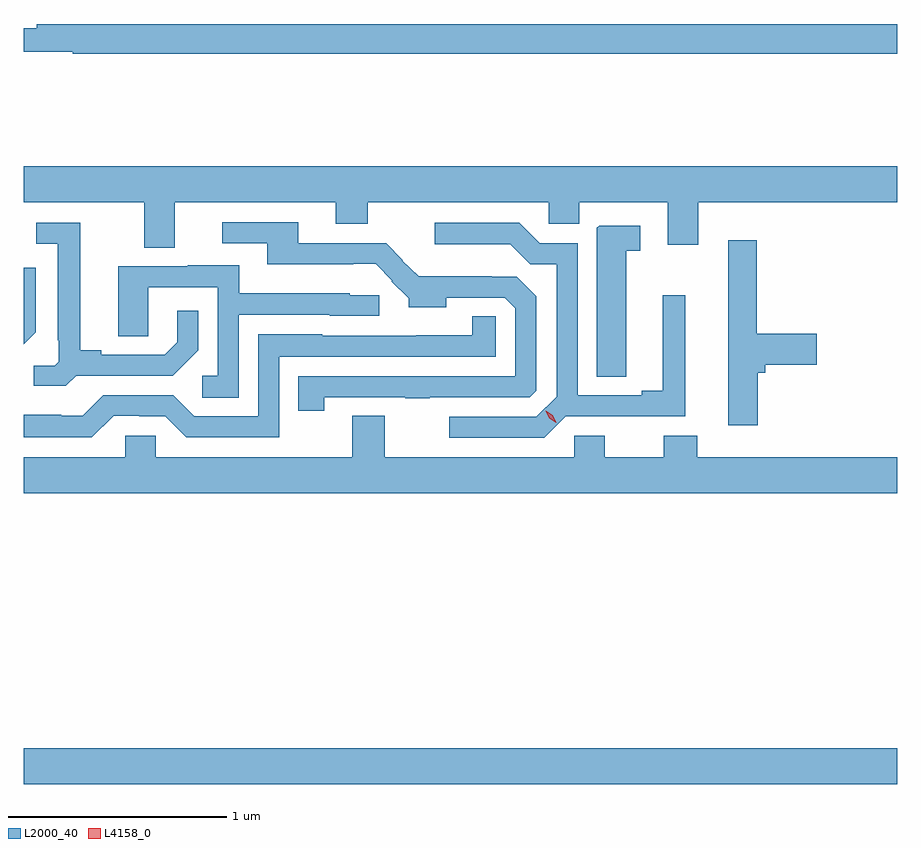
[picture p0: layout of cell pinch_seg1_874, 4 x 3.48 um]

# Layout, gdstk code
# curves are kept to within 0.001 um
import gdstk
lib = gdstk.Library(unit=1e-6, precision=1e-09)
def R(c, l, rs):  # rectangles x0, y0, x1, y1
    for r in rs: c.add(gdstk.rectangle(r[:2], r[2:], *l))
def P(c, l, *ps):  # polygons
    for p in ps: c.add(gdstk.Polygon(p, *l))
L2000_40 = (2000, 40)
L4158_0 = (4158, 0)

pinch_seg1_874 = lib.new_cell('pinch_seg1_874')
R(pinch_seg1_874, L2000_40, [(512.861,505.112,516.861,505.276)])
P(pinch_seg1_874, L2000_40, [(516.861,508.592),(512.92,508.592),(512.92,508.573),(512.861,508.573),(512.861,508.464),(513.086,508.464),(513.086,508.456),(516.861,508.456)],
  [(513.553,507.776),(514.289,507.776),(514.289,507.677),(514.437,507.677),(514.437,507.776),(515.265,507.776),(515.265,507.678),(515.404,507.678),(515.404,507.776),(515.81,507.776),(515.81,507.582),(515.95,507.582),(515.95,507.776),(516.861,507.776),(516.861,507.94),(512.861,507.94),(512.861,507.776),(513.413,507.776),(513.413,507.568),(513.553,507.568)],
  [(514.236,506.883),(514.609,506.883),(514.609,506.878),(514.721,506.878),(514.721,506.883),(515.178,506.883),(515.208,506.913),(515.208,507.345),(515.119,507.434),(515.003,507.434),(515.003,507.436),(514.669,507.436),(514.595,507.509),(514.597,507.511),(514.521,507.588),(514.117,507.588),(514.117,507.684),(513.77,507.684),(513.77,507.588),(513.977,507.588),(513.977,507.491),(514.37,507.491),(514.37,507.494),(514.472,507.494),(514.548,507.417),(514.545,507.414),(514.624,507.336),(514.624,507.296),(514.795,507.296),(514.795,507.339),(515.064,507.339),(515.112,507.291),(515.112,506.979),(514.117,506.979),(514.117,506.82),(514.236,506.82)],
  [(515.344,506.796),(515.89,506.796),(515.89,507.349),(515.786,507.349),(515.786,506.912),(515.69,506.912),(515.69,506.892),(515.397,506.892),(515.397,507.588),(515.223,507.588),(515.13,507.681),(514.743,507.681),(514.743,507.584),(515.089,507.584),(515.18,507.493),(515.301,507.493),(515.301,506.886),(515.208,506.793),(514.809,506.793),(514.809,506.697),(515.245,506.697)],
  [(513.102,506.982),(513.544,506.982),(513.66,507.098),(513.66,507.28),(513.563,507.28),(513.563,507.135),(513.506,507.078),(513.217,507.078),(513.217,507.098),(513.121,507.098),(513.121,507.681),(512.919,507.681),(512.919,507.585),(513.017,507.585),(513.017,507.145),(513.021,507.145),(513.021,507.045),(513.003,507.027),(512.908,507.027),(512.908,506.935),(513.054,506.935)],
  [(515.62,507.553),(515.683,507.553),(515.683,507.669),(515.496,507.669),(515.486,507.659),(515.486,506.977),(515.62,506.977)],
  [(516.221,506.995),(516.257,506.995),(516.257,507.031),(516.493,507.031),(516.493,507.173),(516.218,507.173),(516.218,507.601),(516.086,507.601),(516.086,506.754),(516.221,506.754)],
  [(513.846,507.261),(514.263,507.261),(514.263,507.255),(514.488,507.255),(514.488,507.351),(514.353,507.351),(514.353,507.358),(513.847,507.358),(513.847,507.487),(513.611,507.487),(513.611,507.483),(513.293,507.483),(513.293,507.163),(513.432,507.163),(513.432,507.387),(513.75,507.387),(513.75,506.982),(513.678,506.982),(513.678,506.881),(513.846,506.881)],
  [(512.916,507.18),(512.916,507.475),(512.861,507.475),(512.861,507.125)],
  [(513.273,506.799),(513.39,506.799),(513.39,506.796),(513.51,506.796),(513.606,506.7),(514.032,506.7),(514.032,507.069),(515.022,507.069),(515.022,507.254),(514.914,507.254),(514.914,507.166),(514.227,507.165),(514.227,507.172),(513.936,507.172),(513.936,506.796),(513.642,506.796),(513.546,506.892),(513.225,506.892),(513.132,506.799),(513.032,506.799),(513.032,506.803),(512.861,506.803),(512.861,506.699),(513.173,506.699)],
  [(516.861,506.608),(515.945,506.608),(515.945,506.707),(515.792,506.707),(515.792,506.608),(515.521,506.608),(515.521,506.706),(515.382,506.706),(515.382,506.608),(514.513,506.608),(514.513,506.798),(514.366,506.798),(514.366,506.608),(513.465,506.608),(513.465,506.706),(513.327,506.706),(513.327,506.608),(512.861,506.608),(512.861,506.444),(516.861,506.444)])
P(pinch_seg1_874, L4158_0, [(515.3,506.767),(515.268,506.787),(515.252,506.821),(515.252,506.821),(515.252,506.821),(515.283,506.801),(515.3,506.767),(515.3,506.767)])

lib.write_gds('pinch_seg1_874.gds')
